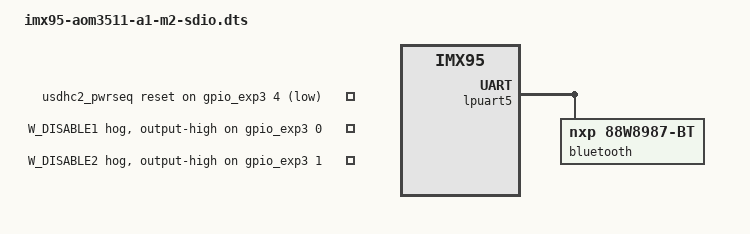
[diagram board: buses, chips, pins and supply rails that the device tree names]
#include "imx95-aom3511-a1.dts"

/ {
	usdhc2_pwrseq: usdhc2_pwrseq {
		compatible = "mmc-pwrseq-simple";
		post-power-on-delay-ms = <80>;
		reset-gpios =	<&gpio_exp3 4 GPIO_ACTIVE_LOW>;
	};
};

&gpio_exp3 {

	W_DISABLE1 {
		gpio-hog;
		gpios = <0 GPIO_ACTIVE_HIGH>;
		output-high;
		line-name = "W_DISABLE1";
	};

	W_DISABLE2 {
		gpio-hog;
		gpios = <1 GPIO_ACTIVE_HIGH>;
		output-high;
		line-name = "W_DISABLE2";
	};
};

&usdhc2 {
	/delete-property/cd-gpios;
	/delete-property/vmmc-supply;
	mmc-pwrseq = <&usdhc2_pwrseq>;
};

&lpuart5 {
	/delete-property/linux,rs485-enabled-at-boot-time;
	/delete-property/rs485-rx-during-tx;

	bluetooth {
		compatible = "nxp,88w8987-bt";
	};
};
